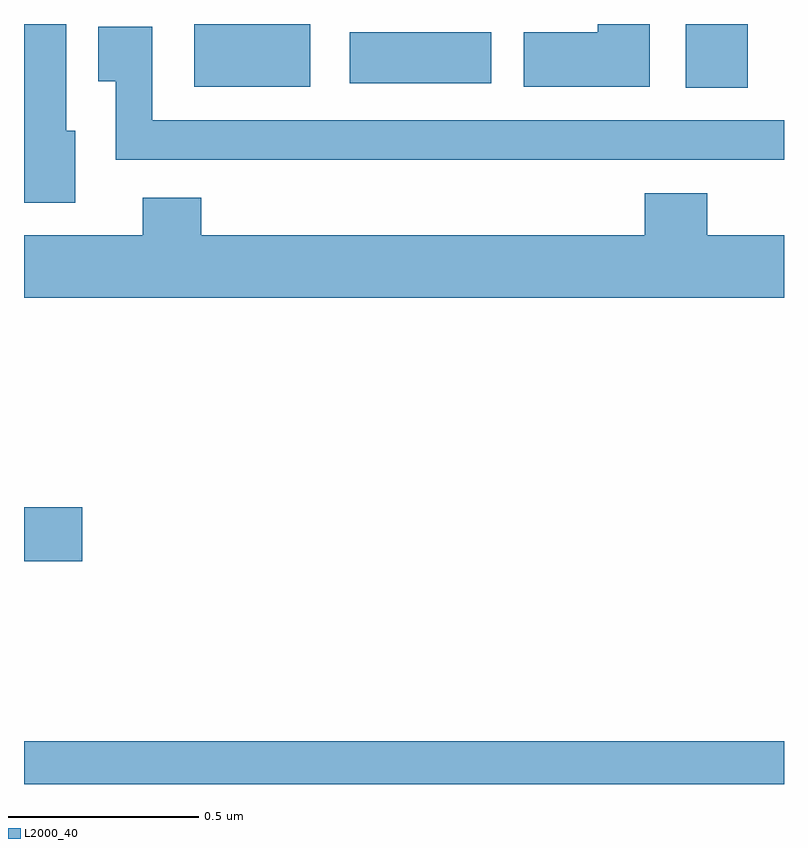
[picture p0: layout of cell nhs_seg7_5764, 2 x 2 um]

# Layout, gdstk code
import gdstk
lib = gdstk.Library(unit=1e-6, precision=1e-09)
def R(c, l, rs):  # rectangles x0, y0, x1, y1
    for r in rs: c.add(gdstk.rectangle(r[:2], r[2:], *l))
def P(c, l, *ps):  # polygons
    for p in ps: c.add(gdstk.Polygon(p, *l))
L2000_40 = (2000, 40)

nhs_seg7_5764 = lib.new_cell('nhs_seg7_5764')
R(nhs_seg7_5764, L2000_40, [(190,1002,192,1002.112), (190,1002.586,190.153,1002.728), (191.741,1003.832,191.905,1004), (190.448,1003.835,190.753,1004), (190.857,1003.844,191.23,1003.978)])
P(nhs_seg7_5764, L2000_40, [(190.135,1003.719),(190.111,1003.719),(190.111,1004),(190.001,1004),(190.001,1003.529),(190.135,1003.529)],
  [(191.647,1004),(191.51,1004),(191.51,1003.978),(191.315,1003.978),(191.315,1003.835),(191.647,1003.835)],
  [(192,1003.747),(190.338,1003.747),(190.338,1003.993),(190.196,1003.993),(190.196,1003.849),(190.241,1003.849),(190.241,1003.643),(192,1003.643)],
  [(192,1003.444),(191.798,1003.444),(191.798,1003.555),(191.633,1003.555),(191.633,1003.444),(190.466,1003.444),(190.466,1003.543),(190.313,1003.543),(190.313,1003.444),(190,1003.444),(190,1003.28),(192,1003.28)])

lib.write_gds('nhs_seg7_5764.gds')
